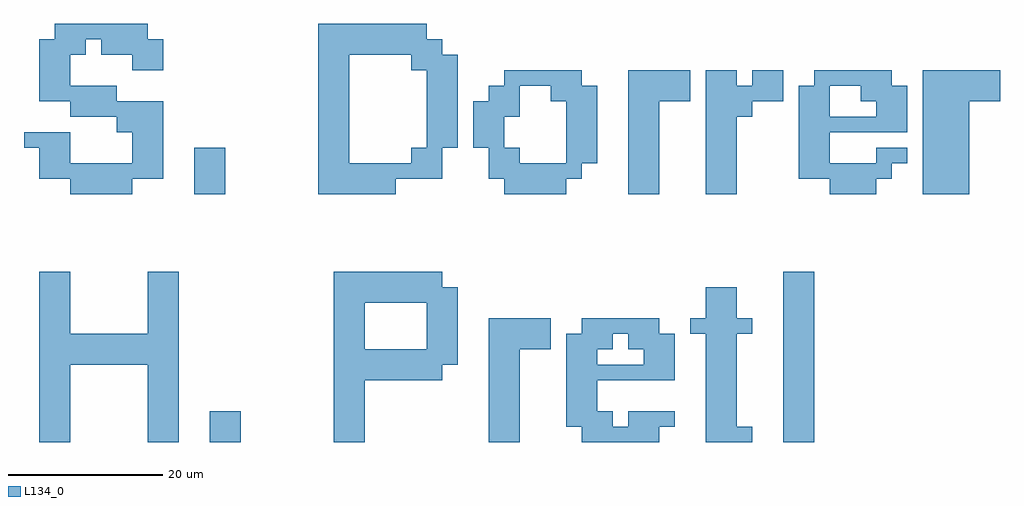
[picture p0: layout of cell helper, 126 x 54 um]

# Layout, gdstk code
import gdstk
lib = gdstk.Library(unit=1e-6, precision=1e-09)
def R(c, l, rs):  # rectangles x0, y0, x1, y1
    for r in rs: c.add(gdstk.rectangle(r[:2], r[2:], *l))
def P(c, l, *ps):  # polygons
    for p in ps: c.add(gdstk.Polygon(p, *l))
L134_0 = (134, 0)

helper = lib.new_cell('helper')
R(helper, L134_0, [(42,18,46,22), (116,18,120,40), (40,50,44,56)])
P(helper, L134_0, [(78,18),(78,34),(86,34),(86,30),(82,30),(82,18)],
  [(90,18),(90,20),(88,20),(88,32),(94,32),(94,30),(92,30),(92,28),(98,28),(98,30),(96,30),(96,32),(90,32),(90,34),(100,34),(100,32),(102,32),(102,26),(92,26),(92,22),(94,22),(94,20),(96,20),(96,22),(102,22),(102,20),(100,20),(100,18)],
  [(106,18),(106,32),(104,32),(104,34),(106,34),(106,38),(110,38),(110,34),(112,34),(112,32),(110,32),(110,20),(112,20),(112,18)],
  [(20,18),(20,40),(24,40),(24,32),(34,32),(34,40),(38,40),(38,18),(34,18),(34,28),(24,28),(24,18)],
  [(58,18),(58,36),(62,36),(62,30),(70,30),(70,36),(58,36),(58,40),(72,40),(72,38),(74,38),(74,28),(72,28),(72,26),(62,26),(62,18)],
  [(80,50),(80,52),(78,52),(78,56),(76,56),(76,62),(78,62),(78,64),(82,64),(82,60),(80,60),(80,56),(82,56),(82,54),(88,54),(88,62),(86,62),(86,64),(80,64),(80,66),(90,66),(90,64),(92,64),(92,54),(90,54),(90,52),(88,52),(88,50)],
  [(96,50),(96,66),(104,66),(104,62),(100,62),(100,50)],
  [(106,50),(106,66),(110,66),(110,64),(112,64),(112,66),(116,66),(116,62),(112,62),(112,60),(110,60),(110,50)],
  [(122,50),(122,52),(118,52),(118,64),(122,64),(122,60),(128,60),(128,62),(126,62),(126,64),(120,64),(120,66),(130,66),(130,64),(132,64),(132,58),(122,58),(122,54),(128,54),(128,56),(132,56),(132,54),(130,54),(130,52),(128,52),(128,50)],
  [(134,50),(134,66),(144,66),(144,62),(140,62),(140,50)],
  [(24,50),(24,52),(20,52),(20,56),(18,56),(18,58),(24,58),(24,54),(32,54),(32,58),(30,58),(30,60),(24,60),(24,62),(20,62),(20,70),(22,70),(22,72),(34,72),(34,70),(36,70),(36,66),(32,66),(32,68),(28,68),(28,70),(26,70),(26,68),(24,68),(24,64),(30,64),(30,62),(36,62),(36,52),(32,52),(32,50)],
  [(56,50),(56,68),(60,68),(60,54),(68,54),(68,56),(70,56),(70,66),(68,66),(68,68),(56,68),(56,72),(70,72),(70,70),(72,70),(72,68),(74,68),(74,56),(72,56),(72,52),(66,52),(66,50)])

lib.write_gds('helper.gds')
